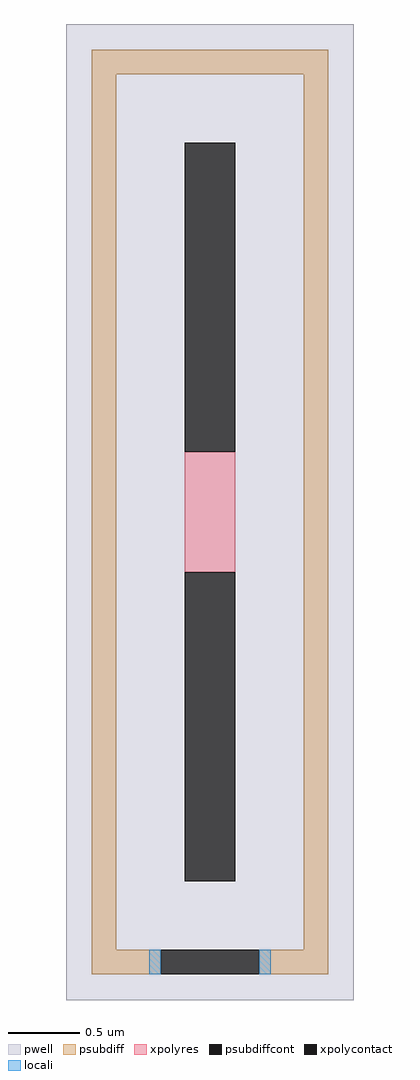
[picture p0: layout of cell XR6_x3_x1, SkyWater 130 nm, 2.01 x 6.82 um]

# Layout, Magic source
magic
tech sky130A
magscale 1 2
<< pwell >>
rect -201 -682 201 682
<< psubdiff >>
rect -165 612 165 646
rect -165 -612 -131 612
rect 131 -612 165 612
rect -165 -646 -69 -612
rect 69 -646 165 -612
<< psubdiffcont >>
rect -69 -646 69 -612
<< xpolycontact >>
rect -35 84 35 516
rect -35 -516 35 -84
<< xpolyres >>
rect -35 -84 35 84
<< locali >>
rect -85 -646 -69 -612
rect 69 -646 85 -612
<< properties >>
string FIXED_BBOX -148 -629 148 629
<< end >>
